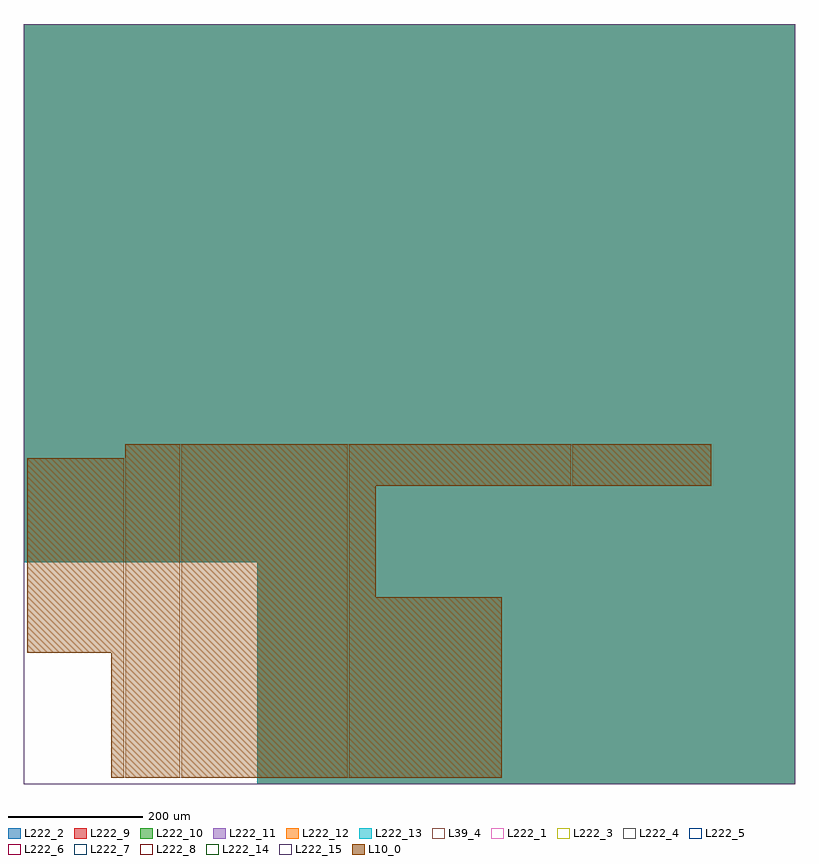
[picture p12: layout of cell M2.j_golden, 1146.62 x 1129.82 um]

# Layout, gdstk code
import gdstk
lib = gdstk.Library(unit=1e-6, precision=1e-09)
def R(c, l, rs):  # rectangles x0, y0, x1, y1
    for r in rs: c.add(gdstk.rectangle(r[:2], r[2:], *l))
L10_0 = (10, 0)
L39_4 = (39, 4)
L222_1 = (222, 1)
L222_2 = (222, 2)
L222_3 = (222, 3)
L222_4 = (222, 4)
L222_5 = (222, 5)
L222_6 = (222, 6)
L222_7 = (222, 7)
L222_8 = (222, 8)
L222_9 = (222, 9)
L222_10 = (222, 10)
L222_11 = (222, 11)
L222_12 = (222, 12)
L222_13 = (222, 13)
L222_14 = (222, 14)
L222_15 = (222, 15)

m2_j_golden = lib.new_cell('M2.j_golden')
R(m2_j_golden, L10_0, [(129.56,9.08,149.56,29.08), (150.66,9.08,170.66,29.08), (171.29,9.08,191.29,29.08), (191.9,9.08,211.9,29.08), (212.53,9.08,232.53,29.08), (233.63,9.08,253.63,29.08), (254.26,9.08,274.26,29.08), (275,9.08,295,29.08), (295.63,9.08,315.63,29.08), (316.73,9.08,336.73,29.08), (337.36,9.08,357.36,29.08), (358.04,9.08,378.04,29.08), (378.67,9.08,398.67,29.08), (399.77,9.08,419.77,29.08), (420.4,9.08,440.4,29.08), (441.14,9.08,461.14,29.08), (461.77,9.08,481.77,29.08), (482.87,9.08,502.87,29.08), (503.5,9.08,523.5,29.08), (524.11,9.08,544.11,29.08), (544.74,9.08,564.74,29.08), (565.84,9.08,585.84,29.08), (586.47,9.08,606.47,29.08), (607.21,9.08,627.21,29.08), (627.84,9.08,647.84,29.08), (648.94,9.08,668.94,29.08), (669.57,9.08,689.57,29.08), (690.28,9.08,710.28,29.08), (129.56,29.8,149.56,49.8), (150.66,29.8,170.66,49.8), (171.29,29.8,191.29,49.8), (191.9,29.8,211.9,49.8), (212.53,29.8,232.53,49.8), (233.63,29.8,253.63,49.8), (254.26,29.8,274.26,49.8), (275,29.8,295,49.8), (295.63,29.8,315.63,49.8), (316.73,29.8,336.73,49.8), (337.36,29.8,357.36,49.8), (358.04,29.8,378.04,49.8), (378.67,29.8,398.67,49.8), (399.77,29.8,419.77,49.8), (420.4,29.8,440.4,49.8), (441.14,29.8,461.14,49.8), (461.77,29.8,481.77,49.8), (482.87,29.8,502.87,49.8), (503.5,29.8,523.5,49.8), (524.11,29.8,544.11,49.8), (544.74,29.8,564.74,49.8), (565.84,29.8,585.84,49.8), (586.47,29.8,606.47,49.8), (607.21,29.8,627.21,49.8), (627.84,29.8,647.84,49.8), (648.94,29.8,668.94,49.8), (669.57,29.8,689.57,49.8), (690.28,29.8,710.28,49.8), (129.56,50.43,149.56,70.43), (150.66,50.43,170.66,70.43), (171.29,50.43,191.29,70.43), (191.9,50.43,211.9,70.43), (212.53,50.43,232.53,70.43), (233.63,50.43,253.63,70.43), (254.26,50.43,274.26,70.43), (275,50.43,295,70.43), (295.63,50.43,315.63,70.43), (316.73,50.43,336.73,70.43), (337.36,50.43,357.36,70.43), (358.04,50.43,378.04,70.43), (378.67,50.43,398.67,70.43), (399.77,50.43,419.77,70.43), (420.4,50.43,440.4,70.43), (441.14,50.43,461.14,70.43), (461.77,50.43,481.77,70.43), (482.87,50.43,502.87,70.43), (503.5,50.43,523.5,70.43), (524.11,50.43,544.11,70.43), (544.74,50.43,564.74,70.43), (565.84,50.43,585.84,70.43), (586.47,50.43,606.47,70.43), (607.21,50.43,627.21,70.43), (627.84,50.43,647.84,70.43), (648.94,50.43,668.94,70.43), (669.57,50.43,689.57,70.43), (690.28,50.43,710.28,70.43), (129.56,71.15,149.56,91.15), (150.66,71.15,170.66,91.15), (171.29,71.15,191.29,91.15), (191.9,71.15,211.9,91.15), (212.53,71.15,232.53,91.15), (233.63,71.15,253.63,91.15), (254.26,71.15,274.26,91.15), (275,71.15,295,91.15), (295.63,71.15,315.63,91.15), (316.73,71.15,336.73,91.15), (337.36,71.15,357.36,91.15), (358.04,71.15,378.04,91.15), (378.67,71.15,398.67,91.15), (399.77,71.15,419.77,91.15), (420.4,71.15,440.4,91.15), (441.14,71.15,461.14,91.15), (461.77,71.15,481.77,91.15), (482.87,71.15,502.87,91.15), (503.5,71.15,523.5,91.15), (524.11,71.15,544.11,91.15), (544.74,71.15,564.74,91.15), (565.84,71.15,585.84,91.15), (586.47,71.15,606.47,91.15), (607.21,71.15,627.21,91.15), (627.84,71.15,647.84,91.15), (648.94,71.15,668.94,91.15), (669.57,71.15,689.57,91.15), (690.28,71.15,710.28,91.15), (129.56,91.86,149.56,111.86), (150.66,91.86,170.66,111.86), (171.29,91.86,191.29,111.86), (191.9,91.86,211.9,111.86), (212.53,91.86,232.53,111.86), (233.63,91.86,253.63,111.86), (254.26,91.86,274.26,111.86), (275,91.86,295,111.86), (295.63,91.86,315.63,111.86), (316.73,91.86,336.73,111.86), (337.36,91.86,357.36,111.86), (358.04,91.86,378.04,111.86), (378.67,91.86,398.67,111.86), (399.77,91.86,419.77,111.86), (420.4,91.86,440.4,111.86), (441.14,91.86,461.14,111.86), (461.77,91.86,481.77,111.86), (482.87,91.86,502.87,111.86), (503.5,91.86,523.5,111.86), (524.11,91.86,544.11,111.86), (544.74,91.86,564.74,111.86), (565.84,91.86,585.84,111.86), (586.47,91.86,606.47,111.86), (607.21,91.86,627.21,111.86), (627.84,91.86,647.84,111.86), (648.94,91.86,668.94,111.86), (669.57,91.86,689.57,111.86), (690.28,91.86,710.28,111.86), (129.56,112.58,149.56,132.58), (150.66,112.58,170.66,132.58), (171.29,112.58,191.29,132.58), (191.9,112.58,211.9,132.58), (212.53,112.58,232.53,132.58), (233.63,112.58,253.63,132.58), (254.26,112.58,274.26,132.58), (275,112.58,295,132.58), (295.63,112.58,315.63,132.58), (316.73,112.58,336.73,132.58), (337.36,112.58,357.36,132.58), (358.04,112.58,378.04,132.58), (378.67,112.58,398.67,132.58), (399.77,112.58,419.77,132.58), (420.4,112.58,440.4,132.58), (441.14,112.58,461.14,132.58), (461.77,112.58,481.77,132.58), (482.87,112.58,502.87,132.58), (503.5,112.58,523.5,132.58), (524.11,112.58,544.11,132.58), (544.74,112.58,564.74,132.58), (565.84,112.58,585.84,132.58), (586.47,112.58,606.47,132.58), (607.21,112.58,627.21,132.58), (627.84,112.58,647.84,132.58), (648.94,112.58,668.94,132.58), (669.57,112.58,689.57,132.58), (690.28,112.58,710.28,132.58), (129.56,133.21,149.56,153.21), (150.66,133.21,170.66,153.21), (171.29,133.21,191.29,153.21), (191.9,133.21,211.9,153.21), (212.53,133.21,232.53,153.21), (233.63,133.21,253.63,153.21), (254.26,133.21,274.26,153.21), (275,133.21,295,153.21), (295.63,133.21,315.63,153.21), (316.73,133.21,336.73,153.21), (337.36,133.21,357.36,153.21), (358.04,133.21,378.04,153.21), (378.67,133.21,398.67,153.21), (399.77,133.21,419.77,153.21), (420.4,133.21,440.4,153.21), (441.14,133.21,461.14,153.21), (461.77,133.21,481.77,153.21), (482.87,133.21,502.87,153.21), (503.5,133.21,523.5,153.21), (524.11,133.21,544.11,153.21), (544.74,133.21,564.74,153.21), (565.84,133.21,585.84,153.21), (586.47,133.21,606.47,153.21), (607.21,133.21,627.21,153.21), (627.84,133.21,647.84,153.21), (648.94,133.21,668.94,153.21), (669.57,133.21,689.57,153.21), (690.28,133.21,710.28,153.21), (129.56,153.93,149.56,173.93), (150.66,153.93,170.66,173.93), (171.29,153.93,191.29,173.93), (191.9,153.93,211.9,173.93), (212.53,153.93,232.53,173.93), (233.63,153.93,253.63,173.93), (254.26,153.93,274.26,173.93), (275,153.93,295,173.93), (295.63,153.93,315.63,173.93), (316.73,153.93,336.73,173.93), (337.36,153.93,357.36,173.93), (358.04,153.93,378.04,173.93), (378.67,153.93,398.67,173.93), (399.77,153.93,419.77,173.93), (420.4,153.93,440.4,173.93), (441.14,153.93,461.14,173.93), (461.77,153.93,481.77,173.93), (482.87,153.93,502.87,173.93), (503.5,153.93,523.5,173.93), (524.11,153.93,544.11,173.93), (544.74,153.93,564.74,173.93), (565.84,153.93,585.84,173.93), (586.47,153.93,606.47,173.93), (607.21,153.93,627.21,173.93), (627.84,153.93,647.84,173.93), (648.94,153.93,668.94,173.93), (669.57,153.93,689.57,173.93), (690.28,153.93,710.28,173.93), (129.56,174.54,149.56,194.54), (150.66,174.54,170.66,194.54), (171.29,174.54,191.29,194.54), (191.9,174.54,211.9,194.54), (212.53,174.54,232.53,194.54), (233.63,174.54,253.63,194.54), (254.26,174.54,274.26,194.54), (275,174.54,295,194.54), (295.63,174.54,315.63,194.54), (316.73,174.54,336.73,194.54), (337.36,174.54,357.36,194.54), (358.04,174.54,378.04,194.54), (378.67,174.54,398.67,194.54), (399.77,174.54,419.77,194.54), (420.4,174.54,440.4,194.54), (441.14,174.54,461.14,194.54), (461.77,174.54,481.77,194.54), (482.87,174.54,502.87,194.54), (503.5,174.54,523.5,194.54), (524.11,174.54,544.11,194.54), (544.74,174.54,564.74,194.54), (565.84,174.54,585.84,194.54), (586.47,174.54,606.47,194.54), (607.21,174.54,627.21,194.54), (627.84,174.54,647.84,194.54), (648.94,174.54,668.94,194.54), (669.57,174.54,689.57,194.54), (690.28,174.54,710.28,194.54), (5.12,195.26,25.12,215.26), (25.83,195.26,45.83,215.26), (46.46,195.26,66.46,215.26), (67.56,195.26,87.56,215.26), (88.19,195.26,108.19,215.26), (108.93,195.26,128.93,215.26), (129.56,195.26,149.56,215.26), (150.66,195.26,170.66,215.26), (171.29,195.26,191.29,215.26), (191.9,195.26,211.9,215.26), (212.53,195.26,232.53,215.26), (233.63,195.26,253.63,215.26), (254.26,195.26,274.26,215.26), (275,195.26,295,215.26), (295.63,195.26,315.63,215.26), (316.73,195.26,336.73,215.26), (337.36,195.26,357.36,215.26), (358.04,195.26,378.04,215.26), (378.67,195.26,398.67,215.26), (399.77,195.26,419.77,215.26), (420.4,195.26,440.4,215.26), (441.14,195.26,461.14,215.26), (461.77,195.26,481.77,215.26), (482.87,195.26,502.87,215.26), (503.5,195.26,523.5,215.26), (524.11,195.26,544.11,215.26), (544.74,195.26,564.74,215.26), (565.84,195.26,585.84,215.26), (586.47,195.26,606.47,215.26), (607.21,195.26,627.21,215.26), (627.84,195.26,647.84,215.26), (648.94,195.26,668.94,215.26), (669.57,195.26,689.57,215.26), (690.28,195.26,710.28,215.26), (5.12,215.89,25.12,235.89), (25.83,215.89,45.83,235.89), (46.46,215.89,66.46,235.89), (67.56,215.89,87.56,235.89), (88.19,215.89,108.19,235.89), (108.93,215.89,128.93,235.89), (129.56,215.89,149.56,235.89), (150.66,215.89,170.66,235.89), (171.29,215.89,191.29,235.89), (191.9,215.89,211.9,235.89), (212.53,215.89,232.53,235.89), (233.63,215.89,253.63,235.89), (254.26,215.89,274.26,235.89), (275,215.89,295,235.89), (295.63,215.89,315.63,235.89), (316.73,215.89,336.73,235.89), (337.36,215.89,357.36,235.89), (358.04,215.89,378.04,235.89), (378.67,215.89,398.67,235.89), (399.77,215.89,419.77,235.89), (420.4,215.89,440.4,235.89), (441.14,215.89,461.14,235.89), (461.77,215.89,481.77,235.89), (482.87,215.89,502.87,235.89), (503.5,215.89,523.5,235.89), (524.11,215.89,544.11,235.89), (544.74,215.89,564.74,235.89), (565.84,215.89,585.84,235.89), (586.47,215.89,606.47,235.89), (607.21,215.89,627.21,235.89), (627.84,215.89,647.84,235.89), (648.94,215.89,668.94,235.89), (669.57,215.89,689.57,235.89), (690.28,215.89,710.28,235.89), (5.12,236.61,25.12,256.61), (25.83,236.61,45.83,256.61), (46.46,236.61,66.46,256.61), (67.56,236.61,87.56,256.61), (88.19,236.61,108.19,256.61), (108.93,236.61,128.93,256.61), (129.56,236.61,149.56,256.61), (150.66,236.61,170.66,256.61), (171.29,236.61,191.29,256.61), (191.9,236.61,211.9,256.61), (212.53,236.61,232.53,256.61), (233.63,236.61,253.63,256.61), (254.26,236.61,274.26,256.61), (275,236.61,295,256.61), (295.63,236.61,315.63,256.61), (316.73,236.61,336.73,256.61), (337.36,236.61,357.36,256.61), (358.04,236.61,378.04,256.61), (378.67,236.61,398.67,256.61), (399.77,236.61,419.77,256.61), (420.4,236.61,440.4,256.61), (441.14,236.61,461.14,256.61), (461.77,236.61,481.77,256.61), (482.87,236.61,502.87,256.61), (503.5,236.61,523.5,256.61), (524.11,236.61,544.11,256.61), (544.74,236.61,564.74,256.61), (565.84,236.61,585.84,256.61), (586.47,236.61,606.47,256.61), (607.21,236.61,627.21,256.61), (627.84,236.61,647.84,256.61), (648.94,236.61,668.94,256.61), (669.57,236.61,689.57,256.61), (690.28,236.61,710.28,256.61), (5.12,257.32,25.12,277.32), (25.83,257.32,45.83,277.32), (46.46,257.32,66.46,277.32), (67.56,257.32,87.56,277.32), (88.19,257.32,108.19,277.32), (108.93,257.32,128.93,277.32), (129.56,257.32,149.56,277.32), (150.66,257.32,170.66,277.32), (171.29,257.32,191.29,277.32), (191.9,257.32,211.9,277.32), (212.53,257.32,232.53,277.32), (233.63,257.32,253.63,277.32), (254.26,257.32,274.26,277.32), (275,257.32,295,277.32), (295.63,257.32,315.63,277.32), (316.73,257.32,336.73,277.32), (337.36,257.32,357.36,277.32), (358.04,257.32,378.04,277.32), (378.67,257.32,398.67,277.32), (399.77,257.32,419.77,277.32), (420.4,257.32,440.4,277.32), (441.14,257.32,461.14,277.32), (461.77,257.32,481.77,277.32), (482.87,257.32,502.87,277.32), (503.5,257.32,523.5,277.32), (524.11,257.32,544.11,277.32), (544.74,257.32,564.74,277.32), (565.84,257.32,585.84,277.32), (586.47,257.32,606.47,277.32), (607.21,257.32,627.21,277.32), (627.84,257.32,647.84,277.32), (648.94,257.32,668.94,277.32), (669.57,257.32,689.57,277.32), (690.28,257.32,710.28,277.32), (5.12,278.04,25.12,298.04), (25.83,278.04,45.83,298.04), (46.46,278.04,66.46,298.04), (67.56,278.04,87.56,298.04), (88.19,278.04,108.19,298.04), (108.93,278.04,128.93,298.04), (129.56,278.04,149.56,298.04), (150.66,278.04,170.66,298.04), (171.29,278.04,191.29,298.04), (191.9,278.04,211.9,298.04), (212.53,278.04,232.53,298.04), (233.63,278.04,253.63,298.04), (254.26,278.04,274.26,298.04), (275,278.04,295,298.04), (295.63,278.04,315.63,298.04), (316.73,278.04,336.73,298.04), (337.36,278.04,357.36,298.04), (358.04,278.04,378.04,298.04), (378.67,278.04,398.67,298.04), (399.77,278.04,419.77,298.04), (420.4,278.04,440.4,298.04), (441.14,278.04,461.14,298.04), (461.77,278.04,481.77,298.04), (482.87,278.04,502.87,298.04), (503.5,278.04,523.5,298.04), (5.12,298.67,25.12,318.67), (25.83,298.67,45.83,318.67), (46.46,298.67,66.46,318.67), (67.56,298.67,87.56,318.67), (88.19,298.67,108.19,318.67), (108.93,298.67,128.93,318.67), (129.56,298.67,149.56,318.67), (150.66,298.67,170.66,318.67), (171.29,298.67,191.29,318.67), (191.9,298.67,211.9,318.67), (212.53,298.67,232.53,318.67), (233.63,298.67,253.63,318.67), (254.26,298.67,274.26,318.67), (275,298.67,295,318.67), (295.63,298.67,315.63,318.67), (316.73,298.67,336.73,318.67), (337.36,298.67,357.36,318.67), (358.04,298.67,378.04,318.67), (378.67,298.67,398.67,318.67), (399.77,298.67,419.77,318.67), (420.4,298.67,440.4,318.67), (441.14,298.67,461.14,318.67), (461.77,298.67,481.77,318.67), (482.87,298.67,502.87,318.67), (503.5,298.67,523.5,318.67), (5.12,319.39,25.12,339.39), (25.83,319.39,45.83,339.39), (46.46,319.39,66.46,339.39), (67.56,319.39,87.56,339.39), (88.19,319.39,108.19,339.39), (108.93,319.39,128.93,339.39), (129.56,319.39,149.56,339.39), (150.66,319.39,170.66,339.39), (171.29,319.39,191.29,339.39), (191.9,319.39,211.9,339.39), (212.53,319.39,232.53,339.39), (233.63,319.39,253.63,339.39), (254.26,319.39,274.26,339.39), (275,319.39,295,339.39), (295.63,319.39,315.63,339.39), (316.73,319.39,336.73,339.39), (337.36,319.39,357.36,339.39), (358.04,319.39,378.04,339.39), (378.67,319.39,398.67,339.39), (399.77,319.39,419.77,339.39), (420.4,319.39,440.4,339.39), (441.14,319.39,461.14,339.39), (461.77,319.39,481.77,339.39), (482.87,319.39,502.87,339.39), (503.5,319.39,523.5,339.39), (5.12,340.01,25.12,360.01), (25.83,340.01,45.83,360.01), (46.46,340.01,66.46,360.01), (67.56,340.01,87.56,360.01), (88.19,340.01,108.19,360.01), (108.93,340.01,128.93,360.01), (129.56,340.01,149.56,360.01), (150.66,340.01,170.66,360.01), (171.29,340.01,191.29,360.01), (191.9,340.01,211.9,360.01), (212.53,340.01,232.53,360.01), (233.63,340.01,253.63,360.01), (254.26,340.01,274.26,360.01), (275,340.01,295,360.01), (295.63,340.01,315.63,360.01), (316.73,340.01,336.73,360.01), (337.36,340.01,357.36,360.01), (358.04,340.01,378.04,360.01), (378.67,340.01,398.67,360.01), (399.77,340.01,419.77,360.01), (420.4,340.01,440.4,360.01), (441.14,340.01,461.14,360.01), (461.77,340.01,481.77,360.01), (482.87,340.01,502.87,360.01), (503.5,340.01,523.5,360.01), (5.12,360.73,25.12,380.73), (25.83,360.73,45.83,380.73), (46.46,360.73,66.46,380.73), (67.56,360.73,87.56,380.73), (88.19,360.73,108.19,380.73), (108.93,360.73,128.93,380.73), (129.56,360.73,149.56,380.73), (150.66,360.73,170.66,380.73), (171.29,360.73,191.29,380.73), (191.9,360.73,211.9,380.73), (212.53,360.73,232.53,380.73), (233.63,360.73,253.63,380.73), (254.26,360.73,274.26,380.73), (275,360.73,295,380.73), (295.63,360.73,315.63,380.73), (316.73,360.73,336.73,380.73), (337.36,360.73,357.36,380.73), (358.04,360.73,378.04,380.73), (378.67,360.73,398.67,380.73), (399.77,360.73,419.77,380.73), (420.4,360.73,440.4,380.73), (441.14,360.73,461.14,380.73), (461.77,360.73,481.77,380.73), (482.87,360.73,502.87,380.73), (503.5,360.73,523.5,380.73), (5.12,381.36,25.12,401.36), (25.83,381.36,45.83,401.36), (46.46,381.36,66.46,401.36), (67.56,381.36,87.56,401.36), (88.19,381.36,108.19,401.36), (108.93,381.36,128.93,401.36), (129.56,381.36,149.56,401.36), (150.66,381.36,170.66,401.36), (171.29,381.36,191.29,401.36), (191.9,381.36,211.9,401.36), (212.53,381.36,232.53,401.36), (233.63,381.36,253.63,401.36), (254.26,381.36,274.26,401.36), (275,381.36,295,401.36), (295.63,381.36,315.63,401.36), (316.73,381.36,336.73,401.36), (337.36,381.36,357.36,401.36), (358.04,381.36,378.04,401.36), (378.67,381.36,398.67,401.36), (399.77,381.36,419.77,401.36), (420.4,381.36,440.4,401.36), (441.14,381.36,461.14,401.36), (461.77,381.36,481.77,401.36), (482.87,381.36,502.87,401.36), (503.5,381.36,523.5,401.36), (5.12,402.08,25.12,422.08), (25.83,402.08,45.83,422.08), (46.46,402.08,66.46,422.08), (67.56,402.08,87.56,422.08), (88.19,402.08,108.19,422.08), (108.93,402.08,128.93,422.08), (129.56,402.08,149.56,422.08), (150.66,402.08,170.66,422.08), (171.29,402.08,191.29,422.08), (191.9,402.08,211.9,422.08), (212.53,402.08,232.53,422.08), (233.63,402.08,253.63,422.08), (254.26,402.08,274.26,422.08), (275,402.08,295,422.08), (295.63,402.08,315.63,422.08), (316.73,402.08,336.73,422.08), (337.36,402.08,357.36,422.08), (358.04,402.08,378.04,422.08), (378.67,402.08,398.67,422.08), (399.77,402.08,419.77,422.08), (420.4,402.08,440.4,422.08), (441.14,402.08,461.14,422.08), (461.77,402.08,481.77,422.08), (482.87,402.08,502.87,422.08), (503.5,402.08,523.5,422.08), (5.12,422.79,25.12,442.79), (25.83,422.79,45.83,442.79), (46.46,422.79,66.46,442.79), (67.56,422.79,87.56,442.79), (88.19,422.79,108.19,442.79), (108.93,422.79,128.93,442.79), (129.56,422.79,149.56,442.79), (150.66,422.79,170.66,442.79), (171.29,422.79,191.29,442.79), (191.9,422.79,211.9,442.79), (212.53,422.79,232.53,442.79), (233.63,422.79,253.63,442.79), (254.26,422.79,274.26,442.79), (275,422.79,295,442.79), (295.63,422.79,315.63,442.79), (316.73,422.79,336.73,442.79), (337.36,422.79,357.36,442.79), (358.04,422.79,378.04,442.79), (378.67,422.79,398.67,442.79), (399.77,422.79,419.77,442.79), (420.4,422.79,440.4,442.79), (441.14,422.79,461.14,442.79), (461.77,422.79,481.77,442.79), (482.87,422.79,502.87,442.79), (503.5,422.79,523.5,442.79), (5.12,443.51,25.12,463.51), (25.83,443.51,45.83,463.51), (46.46,443.51,66.46,463.51), (67.56,443.51,87.56,463.51), (88.19,443.51,108.19,463.51), (108.93,443.51,128.93,463.51), (129.56,443.51,149.56,463.51), (150.66,443.51,170.66,463.51), (171.29,443.51,191.29,463.51), (191.9,443.51,211.9,463.51), (212.53,443.51,232.53,463.51), (233.63,443.51,253.63,463.51), (254.26,443.51,274.26,463.51), (275,443.51,295,463.51), (295.63,443.51,315.63,463.51), (316.73,443.51,336.73,463.51), (337.36,443.51,357.36,463.51), (358.04,443.51,378.04,463.51), (378.67,443.51,398.67,463.51), (399.77,443.51,419.77,463.51), (420.4,443.51,440.4,463.51), (441.14,443.51,461.14,463.51), (461.77,443.51,481.77,463.51), (482.87,443.51,502.87,463.51), (503.5,443.51,523.5,463.51), (524.11,443.51,544.11,463.51), (544.74,443.51,564.74,463.51), (565.84,443.51,585.84,463.51), (586.47,443.51,606.47,463.51), (607.21,443.51,627.21,463.51), (627.84,443.51,647.84,463.51), (648.94,443.51,668.94,463.51), (669.57,443.51,689.57,463.51), (690.28,443.51,710.28,463.51), (710.91,443.51,730.91,463.51), (732.01,443.51,752.01,463.51), (752.64,443.51,772.64,463.51), (773.38,443.51,793.38,463.51), (794.01,443.51,814.01,463.51), (815.11,443.51,835.11,463.51), (835.74,443.51,855.74,463.51), (856.35,443.51,876.35,463.51), (876.98,443.51,896.98,463.51), (898.08,443.51,918.08,463.51), (918.71,443.51,938.71,463.51), (939.45,443.51,959.45,463.51), (960.08,443.51,980.08,463.51), (981.18,443.51,1001.18,463.51), (1001.81,443.51,1021.81,463.51), (5.12,464.14,25.12,484.14), (25.83,464.14,45.83,484.14), (46.46,464.14,66.46,484.14), (67.56,464.14,87.56,484.14), (88.19,464.14,108.19,484.14), (108.93,464.14,128.93,484.14), (129.56,464.14,149.56,484.14), (150.66,464.14,170.66,484.14), (171.29,464.14,191.29,484.14), (191.9,464.14,211.9,484.14), (212.53,464.14,232.53,484.14), (233.63,464.14,253.63,484.14), (254.26,464.14,274.26,484.14), (275,464.14,295,484.14), (295.63,464.14,315.63,484.14), (316.73,464.14,336.73,484.14), (337.36,464.14,357.36,484.14), (358.04,464.14,378.04,484.14), (378.67,464.14,398.67,484.14), (399.77,464.14,419.77,484.14), (420.4,464.14,440.4,484.14), (441.14,464.14,461.14,484.14), (461.77,464.14,481.77,484.14), (482.87,464.14,502.87,484.14), (503.5,464.14,523.5,484.14), (524.11,464.14,544.11,484.14), (544.74,464.14,564.74,484.14), (565.84,464.14,585.84,484.14), (586.47,464.14,606.47,484.14), (607.21,464.14,627.21,484.14), (627.84,464.14,647.84,484.14), (648.94,464.14,668.94,484.14), (669.57,464.14,689.57,484.14), (690.28,464.14,710.28,484.14), (710.91,464.14,730.91,484.14), (732.01,464.14,752.01,484.14), (752.64,464.14,772.64,484.14), (773.38,464.14,793.38,484.14), (794.01,464.14,814.01,484.14), (815.11,464.14,835.11,484.14), (835.74,464.14,855.74,484.14), (856.35,464.14,876.35,484.14), (876.98,464.14,896.98,484.14), (898.08,464.14,918.08,484.14), (918.71,464.14,938.71,484.14), (939.45,464.14,959.45,484.14), (960.08,464.14,980.08,484.14), (981.18,464.14,1001.18,484.14), (1001.81,464.14,1021.81,484.14), (150.66,484.86,170.66,504.86), (171.29,484.86,191.29,504.86), (191.9,484.86,211.9,504.86), (212.53,484.86,232.53,504.86), (233.63,484.86,253.63,504.86), (254.26,484.86,274.26,504.86), (275,484.86,295,504.86), (295.63,484.86,315.63,504.86), (316.73,484.86,336.73,504.86), (337.36,484.86,357.36,504.86), (358.04,484.86,378.04,504.86), (378.67,484.86,398.67,504.86), (399.77,484.86,419.77,504.86), (420.4,484.86,440.4,504.86), (441.14,484.86,461.14,504.86), (461.77,484.86,481.77,504.86), (482.87,484.86,502.87,504.86), (503.5,484.86,523.5,504.86), (524.11,484.86,544.11,504.86), (544.74,484.86,564.74,504.86), (565.84,484.86,585.84,504.86), (586.47,484.86,606.47,504.86), (607.21,484.86,627.21,504.86), (627.84,484.86,647.84,504.86), (648.94,484.86,668.94,504.86), (669.57,484.86,689.57,504.86), (690.28,484.86,710.28,504.86), (710.91,484.86,730.91,504.86), (732.01,484.86,752.01,504.86), (752.64,484.86,772.64,504.86), (773.38,484.86,793.38,504.86), (794.01,484.86,814.01,504.86), (815.11,484.86,835.11,504.86), (835.74,484.86,855.74,504.86), (856.35,484.86,876.35,504.86), (876.98,484.86,896.98,504.86), (898.08,484.86,918.08,504.86), (918.71,484.86,938.71,504.86), (939.45,484.86,959.45,504.86), (960.08,484.86,980.08,504.86), (981.18,484.86,1001.18,504.86), (1001.81,484.86,1021.81,504.86)])
R(m2_j_golden, L39_4, [(0,0,1146.62,1129.82)])
R(m2_j_golden, L222_1, [(0,0,1146.62,1129.82)])
R(m2_j_golden, L222_2, [(346.62,0,1146.62,800), (0,329.82,800,1129.82), (346.62,329.82,1146.62,1129.82)])
R(m2_j_golden, L222_3, [(0,0,1146.62,1129.82)])
R(m2_j_golden, L222_4, [(0,0,1146.62,1129.82)])
R(m2_j_golden, L222_5, [(0,0,1146.62,1129.82)])
R(m2_j_golden, L222_6, [(0,0,1146.62,1129.82)])
R(m2_j_golden, L222_7, [(0,0,1146.62,1129.82)])
R(m2_j_golden, L222_8, [(0,0,1146.62,1129.82)])
R(m2_j_golden, L222_9, [(346.62,0,1146.62,800), (0,329.82,800,1129.82), (346.62,329.82,1146.62,1129.82)])
R(m2_j_golden, L222_10, [(346.62,0,1146.62,800), (0,329.82,800,1129.82), (346.62,329.82,1146.62,1129.82)])
R(m2_j_golden, L222_11, [(346.62,0,1146.62,800), (0,329.82,800,1129.82), (346.62,329.82,1146.62,1129.82)])
R(m2_j_golden, L222_12, [(346.62,0,1146.62,800), (0,329.82,800,1129.82), (346.62,329.82,1146.62,1129.82)])
R(m2_j_golden, L222_13, [(346.62,0,1146.62,800), (0,329.82,800,1129.82), (346.62,329.82,1146.62,1129.82)])
R(m2_j_golden, L222_14, [(0,0,1146.62,1129.82)])
R(m2_j_golden, L222_15, [(0,0,1146.62,1129.82)])

lib.write_gds('M2.j_golden.gds')
